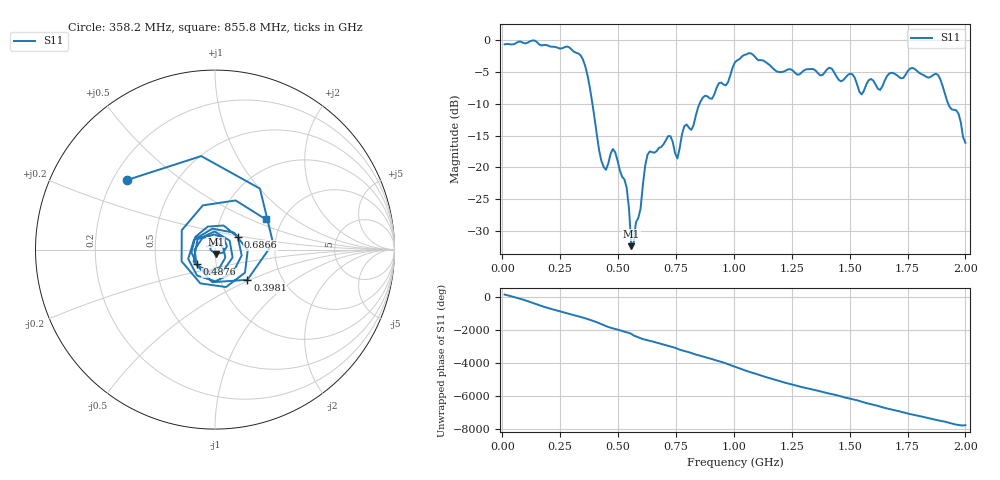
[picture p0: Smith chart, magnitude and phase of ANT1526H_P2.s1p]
!Created with skrf (http://scikit-rf.org).
# Hz S RI R 50.0
!freq ReS11 ImS11
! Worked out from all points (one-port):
!   201 points, 10 MHz to 2 GHz, reference 50 ohm
!   lowest |S11| = -32.4 dB at 557.2 MHz (marker M1), VSWR 1.05, Z = 50.3 - j2.4 ohm
!   |S11| at or under -10 dB: 389.1 MHz to 851.9 MHz (462.8 MHz wide, 74.6 % of centre); 1.926 GHz to end of sweep
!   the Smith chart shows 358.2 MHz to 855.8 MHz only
!   S11 on the Smith chart (normalised r, x): 358.2 MHz: 0.26, +0.33; 398.1 MHz: 1.34, -0.48; 487.6 MHz: 0.80, -0.13; 686.6 MHz: 1.27, +0.18; 855.8 MHz: 1.64, +0.62
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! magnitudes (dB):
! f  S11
! 10 MHz  -0.7
! 258.8 MHz  -1.3
! 358.2 MHz  -4.1
! 398.1 MHz  -12.2
! 437.9 MHz  -19.9
! 487.6 MHz  -17.6
! 507.5 MHz  -20.4
! 537.4 MHz  -23.2
! 557.2 MHz  -32.4
! 597 MHz  -26.5
! 626.9 MHz  -18.0
! 686.6 MHz  -16.8
! 726.4 MHz  -15.1
! 756.2 MHz  -18.6
! 786.1 MHz  -13.5
! 816 MHz  -14.1
! 855.8 MHz  -9.7
! 965.2 MHz  -7.1
! 1.005 GHz  -3.5
! 1.075 GHz  -2.1
! 1.254 GHz  -4.7
! 1.502 GHz  -5.3
! 1.552 GHz  -8.5
! 1.592 GHz  -6.1
! 1.751 GHz  -4.9
! 1.881 GHz  -5.4
! 1.97 GHz  -11.5
! 2 GHz  -16.1
